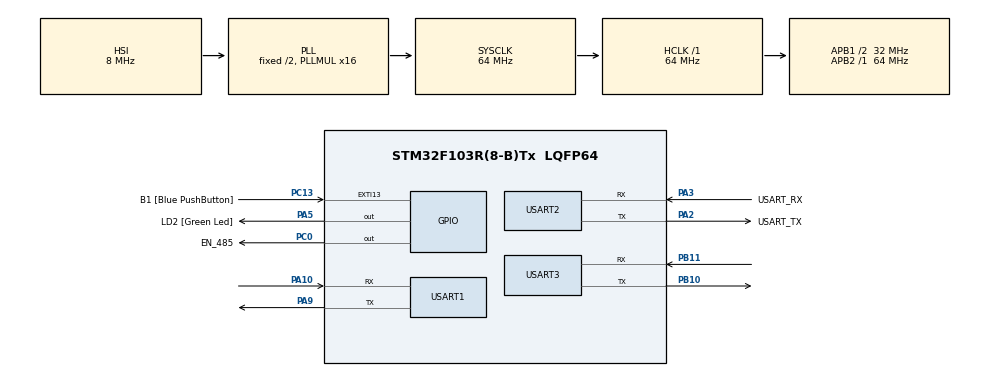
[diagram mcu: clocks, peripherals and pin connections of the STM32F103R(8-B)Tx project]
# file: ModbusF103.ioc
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Mcu.Family=STM32F1
NVIC.USART3_IRQn=true\:5\:0\:false\:false\:true\:true\:true\:true
PA2.GPIO_PuPd=GPIO_NOPULL
PB10.Mode=Asynchronous
PA14.GPIO_Label=TCK
PA3.GPIO_PuPd=GPIO_NOPULL
PA2.GPIO_Speed=GPIO_SPEED_FREQ_LOW
PC0.GPIO_Label=EN_485
NVIC.TIM1_UP_IRQn=true\:0\:0\:false\:false\:true\:false\:false\:true
PA3.GPIO_Speed=GPIO_SPEED_FREQ_LOW
PB11.Signal=USART3_RX
RCC.SYSCLKSource=RCC_SYSCLKSOURCE_PLLCLK
ProjectManager.StackSize=0x400
VP_FREERTOS_VS_CMSIS_V2.Mode=CMSIS_V2
PD1-OSC_OUT.Signal=RCC_OSC_OUT
RCC.HCLKFreq_Value=64000000
RCC.APB2TimFreq_Value=64000000
RCC.AHBFreq_Value=64000000
NVIC.EXTI15_10_IRQn=true\:5\:0\:false\:false\:true\:true\:true\:true
RCC.RTCClockSelection=RCC_RTCCLKSOURCE_LSE
RCC.PLLMUL=RCC_PLL_MUL16
PC14-OSC32_IN.Mode=LSE-External-Oscillator
PA14.Mode=Serial_Wire
VP_SYS_VS_tim1.Mode=TIM1
PA5.GPIO_PuPd=GPIO_NOPULL
FREERTOS.configTOTAL_HEAP_SIZE=6072
Mcu.Package=LQFP64
NVIC.TimeBase=TIM1_UP_IRQn
USART2.VirtualMode=VM_ASYNC
PC13-TAMPER-RTC.GPIO_PuPd=GPIO_NOPULL
PA2.GPIO_Label=USART_TX
NVIC.TimeBaseIP=TIM1
PA10.Signal=USART1_RX
RCC.APB1TimFreq_Value=64000000
NVIC.USART1_IRQn=true\:5\:0\:false\:false\:true\:true\:true\:true
PA3.Signal=USART2_RX
PA2.GPIO_Mode=GPIO_MODE_AF_PP
PB3.GPIO_Label=SWO
PC15-OSC32_OUT.Mode=LSE-External-Oscillator
FREERTOS.Tasks01=defaultTask,24,128,StartDefaultTask,Default,NULL,Dynamic,NULL,NULL;myTaskMaster,8,128,StartTaskMaster,Default,NULL,Dynamic,NULL,NULL;myTaskSlave,8,128,StartTaskSlave,Default,NULL,Dynamic,NULL,NULL
PD1-OSC_OUT.Mode=HSE-External-Clock-Source
PA10.Mode=Asynchronous
PC13-TAMPER-RTC.Signal=GPXTI13
PD0-OSC_IN.Signal=RCC_OSC_IN
PC0.Signal=GPIO_Output
RCC.APB1CLKDivider=RCC_HCLK_DIV2
PC14-OSC32_IN.Signal=RCC_OSC32_IN
NVIC.USART2_IRQn=true\:5\:0\:false\:false\:true\:true\:true\:true
PA13.Signal=SYS_JTMS-SWDIO
PA3.Mode=Asynchronous
PA9.Mode=Asynchronous
PB11.Mode=Asynchronous
ProjectManager.TargetToolchain=STM32CubeIDE
PA3.GPIO_Mode=GPIO_MODE_AF_PP
PA9.Signal=USART1_TX
RCC.USBFreq_Value=64000000
PC15-OSC32_OUT.Signal=RCC_OSC32_OUT
PD0-OSC_IN.Mode=HSE-External-Clock-Source
PB10.Signal=USART3_TX
PA5.Signal=GPIO_Output
board=NUCLEO-F103RB
PC13-TAMPER-RTC.GPIO_Label=B1 [Blue PushButton]
RCC.APB2Freq_Value=64000000
PA5.GPIO_ModeDefaultOutputPP=GPIO_MODE_OUTPUT_PP
PA13.Mode=Serial_Wire
Mcu.Name=STM32F103R(8-B)Tx
PA13.GPIO_Label=TMS
PA2.Signal=USART2_TX
PB3.Signal=SYS_JTDO-TRACESWO
RCC.SYSCLKFreq_VALUE=64000000
PA5.GPIO_Label=LD2 [Green Led]
USART3.VirtualMode=VM_ASYNC
USART1.VirtualMode=VM_ASYNC
PA14.Signal=SYS_JTCK-SWCLK
ProjectManager.HeapSize=0x200
PA5.GPIO_Speed=GPIO_SPEED_FREQ_LOW
NVIC.PriorityGroup=NVIC_PRIORITYGROUP_4
PA2.Mode=Asynchronous
RCC.APB1Freq_Value=32000000
PA3.GPIO_Label=USART_RX

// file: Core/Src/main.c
/* USER CODE BEGIN Header */
/**
  ******************************************************************************
  * @file           : main.c
  * @brief          : Main program body
  ******************************************************************************
  * Example running a Modbus Master and a Slave concurrently in a NUCLEO64-F103RB
  * Modbus Master: USART1 (PA10 ---> USART_RX1, PA9  ---> USART_TX1)
  * Modbus Slave:  USART3 (PB11 ---> USART_RX3, PB10 ---> USART_TX3)
  *
  ******************************************************************************
  */
/* USER CODE END Header */
#include "main.h"
#include "cmsis_os.h"
#include "usart.h"
#include "gpio.h"

/* USER CODE BEGIN Includes */
#include "Modbus.h"
/* USER CODE END Includes */

/* USER CODE BEGIN PV */
modbusHandler_t ModbusH;
uint16_t ModbusDATA[8];
modbusHandler_t ModbusH2;
uint16_t ModbusDATA2[8];

/* USER CODE END PV */

void SystemClock_Config(void);
void MX_FREERTOS_Init(void);

int main(void)
{

  /* MCU Configuration--------------------------------------------------------*/

  /* Reset of all peripherals, Initializes the Flash interface and the Systick. */
  HAL_Init();

  /* Configure the system clock */
  SystemClock_Config();

  /* Initialize all configured peripherals */
  MX_GPIO_Init();
  MX_USART2_UART_Init();
  MX_USART1_UART_Init();
  MX_USART3_UART_Init();
  /* USER CODE BEGIN 2 */

  /* Master initialization */
  ModbusH.uModbusType = MB_MASTER;
  ModbusH.port =  &huart1;
  ModbusH.u8id = 0; // For master it must be 0
  ModbusH.u16timeOut = 1000;
  ModbusH.EN_Port = NULL;
  ModbusH.EN_Port = EN_485_GPIO_Port;
  ModbusH.EN_Pin = EN_485_Pin;
  ModbusH.u16regs = ModbusDATA;
  ModbusH.u16regsize= sizeof(ModbusDATA)/sizeof(ModbusDATA[0]);
  ModbusH.xTypeHW = USART_HW;
  //Initialize Modbus library
  ModbusInit(&ModbusH);
  //Start capturing traffic on serial Port
  ModbusStart(&ModbusH);

  /* Slave initialization */

  ModbusH2.uModbusType = MB_SLAVE;
  ModbusH2.port =  &huart2;
  ModbusH2.u8id = 17;
  ModbusH2.u16timeOut = 1000;
  ModbusH2.EN_Port = NULL;
  //ModbusH2.EN_Port = LD2_GPIO_Port;
  //ModbusH2.EN_Pin = LD2_Pin;
  ModbusH2.u16regs = ModbusDATA2;
  ModbusH2.u16regsize= sizeof(ModbusDATA2)/sizeof(ModbusDATA2[0]);
  //Initialize Modbus library
  ModbusH2.xTypeHW = USART_HW;
  ModbusInit(&ModbusH2);
  //Start capturing traffic on serial Port
  ModbusStart(&ModbusH2);

  /* USER CODE END 2 */

  /* Init scheduler */
  osKernelInitialize();  /* Call init function for freertos objects (in freertos.c) */
  MX_FREERTOS_Init();
  /* Start scheduler */
  osKernelStart();

  /* We should never get here as control is now taken by the scheduler */
  /* Infinite loop */
  while (1)
  {

  }
}

void SystemClock_Config(void)
{
  RCC_OscInitTypeDef RCC_OscInitStruct = {0};
  RCC_ClkInitTypeDef RCC_ClkInitStruct = {0};

  /** Initializes the RCC Oscillators according to the specified parameters
  * in the RCC_OscInitTypeDef structure.
  */
  RCC_OscInitStruct.OscillatorType = RCC_OSCILLATORTYPE_HSI;
  RCC_OscInitStruct.HSIState = RCC_HSI_ON;
  RCC_OscInitStruct.HSICalibrationValue = RCC_HSICALIBRATION_DEFAULT;
  RCC_OscInitStruct.PLL.PLLState = RCC_PLL_ON;
  RCC_OscInitStruct.PLL.PLLSource = RCC_PLLSOURCE_HSI_DIV2;
  RCC_OscInitStruct.PLL.PLLMUL = RCC_PLL_MUL16;
  if (HAL_RCC_OscConfig(&RCC_OscInitStruct) != HAL_OK)
  {
    Error_Handler();
  }
  /** Initializes the CPU, AHB and APB buses clocks
  */
  RCC_ClkInitStruct.ClockType = RCC_CLOCKTYPE_HCLK|RCC_CLOCKTYPE_SYSCLK
                              |RCC_CLOCKTYPE_PCLK1|RCC_CLOCKTYPE_PCLK2;
  RCC_ClkInitStruct.SYSCLKSource = RCC_SYSCLKSOURCE_PLLCLK;
  RCC_ClkInitStruct.AHBCLKDivider = RCC_SYSCLK_DIV1;
  RCC_ClkInitStruct.APB1CLKDivider = RCC_HCLK_DIV2;
  RCC_ClkInitStruct.APB2CLKDivider = RCC_HCLK_DIV1;

  if (HAL_RCC_ClockConfig(&RCC_ClkInitStruct, FLASH_LATENCY_2) != HAL_OK)
  {
    Error_Handler();
  }
}

 /**
  * @brief  Period elapsed callback in non blocking mode
  * @note   This function is called  when TIM1 interrupt took place, inside
  * HAL_TIM_IRQHandler(). It makes a direct call to HAL_IncTick() to increment
  * a global variable "uwTick" used as application time base.
  * @param  htim : TIM handle
  * @retval None
  */
void HAL_TIM_PeriodElapsedCallback(TIM_HandleTypeDef *htim)
{
  if (htim->Instance == TIM1) {
    HAL_IncTick();
  }
}

void Error_Handler(void)
{
}

/************************ (C) COPYRIGHT STMicroelectronics *****END OF FILE****/

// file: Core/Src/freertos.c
/* USER CODE BEGIN Header */
/**
  ******************************************************************************
  * File Name          : freertos.c
  * Description        : Code for freertos applications
  ******************************************************************************
  * @attention
  *
  * <h2><center>&copy; Copyright (c) 2020 STMicroelectronics.
  * All rights reserved.</center></h2>
  *
  * This software component is licensed by ST under Ultimate Liberty license
  * SLA0044, the "License"; You may not use this file except in compliance with
  * the License. You may obtain a copy of the License at:
  *                             www.st.com/SLA0044
  *
  ******************************************************************************
  */
/* USER CODE END Header */

#include "FreeRTOS.h"
#include "task.h"
#include "main.h"
#include "cmsis_os.h"

/* USER CODE BEGIN Includes */
#include "semphr.h"
#include "Modbus.h"
/* USER CODE END Includes */

/* USER CODE BEGIN Variables */
modbus_t telegram[2];
/* USER CODE END Variables */
/* Definitions for defaultTask */
osThreadId_t defaultTaskHandle;
const osThreadAttr_t defaultTask_attributes = {
  .name = "defaultTask",
  .stack_size = 128 * 4,
  .priority = (osPriority_t) osPriorityNormal,
};
/* Definitions for myTaskMaster */
osThreadId_t myTaskMasterHandle;
const osThreadAttr_t myTaskMaster_attributes = {
  .name = "myTaskMaster",
  .stack_size = 128 * 4,
  .priority = (osPriority_t) osPriorityLow,
};
/* Definitions for myTaskSlave */
osThreadId_t myTaskSlaveHandle;
const osThreadAttr_t myTaskSlave_attributes = {
  .name = "myTaskSlave",
  .stack_size = 128 * 4,
  .priority = (osPriority_t) osPriorityLow,
};

void StartDefaultTask(void *argument);
void StartTaskMaster(void *argument);
void StartTaskSlave(void *argument);

void MX_FREERTOS_Init(void); /* (MISRA C 2004 rule 8.1) */

void MX_FREERTOS_Init(void) {

  /* Create the thread(s) */
  /* creation of defaultTask */
  defaultTaskHandle = osThreadNew(StartDefaultTask, NULL, &defaultTask_attributes);

  /* creation of myTaskMaster */
  myTaskMasterHandle = osThreadNew(StartTaskMaster, NULL, &myTaskMaster_attributes);

  /* creation of myTaskSlave */
  myTaskSlaveHandle = osThreadNew(StartTaskSlave, NULL, &myTaskSlave_attributes);

}

void StartDefaultTask(void *argument)
{
  /* USER CODE BEGIN StartDefaultTask */
  /* Infinite loop */
  for(;;)
  {
    osDelay(10);
  }
  /* USER CODE END StartDefaultTask */
}

void StartTaskMaster(void *argument)
{
  /* USER CODE BEGIN StartTaskMaster */
  /* Infinite loop */
	 // telegram 0: read registers

  uint32_t u32NotificationValue;

  telegram[0].u8id = 1; // slave address
  telegram[0].u8fct = 3; // function code (this one is registers read)
  //telegram[0].u16RegAdd = 0x160; // start address in slave
  telegram[0].u16RegAdd = 0x0; // start address in slave
  telegram[0].u16CoilsNo = 1; // number of elements (coils or registers) to read
  telegram[0].u16reg = ModbusDATA; // pointer to a memory array in the Arduino

  // telegram 0: read registers
  telegram[1].u8id = 1; // slave address
  telegram[1].u8fct = 6; // function code (this one is registers write)
  //telegram[1].u16RegAdd = 0x160; // start address in slave
  telegram[1].u16RegAdd = 0x0;
  telegram[1].u16CoilsNo = 1; // number of elements (coils or registers) to read
  telegram[1].u16reg = ModbusDATA; // pointer to a memory array in the Arduino
  int aux;

  for(;;)
  {
	  ModbusQuery(&ModbusH, telegram[0]); // make a query
	  u32NotificationValue = ulTaskNotifyTake(pdTRUE, portMAX_DELAY); // block until query finishes
	  if(u32NotificationValue != OP_OK_QUERY)
	  {
		//handle error
		//  while(1);
		  aux =1;
	  }
	  osDelay(500);

	  ModbusDATA[0]++;
	  ModbusQuery(&ModbusH, telegram[1]); // make a query
	  u32NotificationValue = ulTaskNotifyTake(pdTRUE, portMAX_DELAY); // block until query finishes
	  if(u32NotificationValue)
	  {
	  	//handle error
		//  while(1);
		  aux =2;
	  }
	  osDelay(500);
  }
  /* USER CODE END StartTaskMaster */
}

void StartTaskSlave(void *argument)
{
  /* USER CODE BEGIN StartTaskSlave */
  /* Infinite loop */
  for(;;)
  {

	xSemaphoreTake(ModbusH2.ModBusSphrHandle , portMAX_DELAY);
	HAL_GPIO_WritePin(LD2_GPIO_Port, LD2_Pin, ModbusH2.u16regs[0] & 0x1);
	xSemaphoreGive(ModbusH2.ModBusSphrHandle);
	osDelay(200);

	//osDelay(100);
  }
  /* USER CODE END StartTaskSlave */
}

/************************ (C) COPYRIGHT STMicroelectronics *****END OF FILE****/
